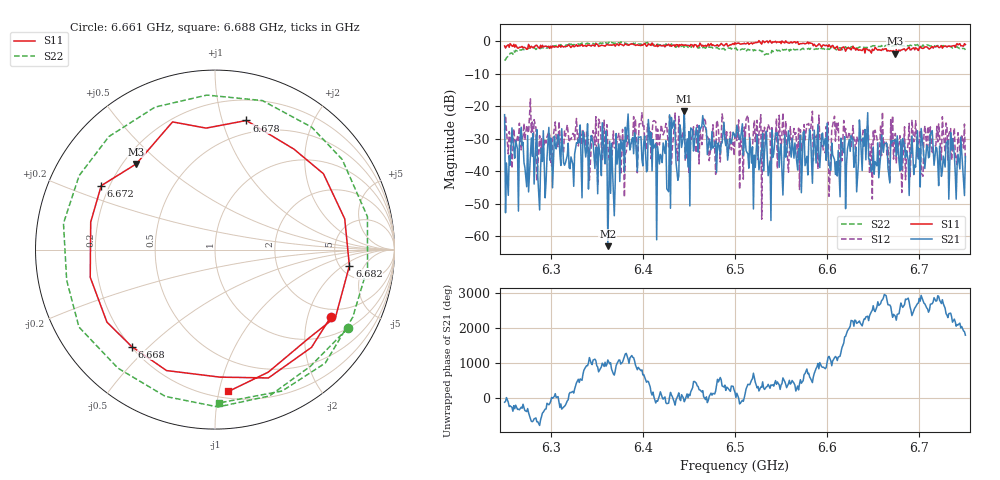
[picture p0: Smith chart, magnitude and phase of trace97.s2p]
# Hz S RI R 50
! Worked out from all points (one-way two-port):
!   401 points, 6.25 GHz to 6.75 GHz, reference 50 ohm
!   highest |S21| = -21.37 dB at 6.445 GHz (marker M1); lowest = -63.0 dB at 6.362 GHz (marker M2)
!   lowest |S11| = -3.8 dB at 6.674 GHz (marker M3), VSWR 4.69, Z = 12.6 + j20.8 ohm
!   |S11| at or under -10 dB: nowhere
!   |S22| runs from -5.9 to 0.0 dB; largest |S21 - S12| = 0.15
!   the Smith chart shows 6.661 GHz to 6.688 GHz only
!   S11 on the Smith chart (normalised r, x): 6.661 GHz: 1.66, -2.81; 6.668 GHz: 0.20, -0.44; 6.672 GHz: 0.17, +0.25; 6.678 GHz: 0.38, +1.20; 6.682 GHz: 6.04, -2.54; 6.688 GHz: 0.25, -1.07
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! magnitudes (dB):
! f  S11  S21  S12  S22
! 6.25 GHz  -1.4  -22.5  -27.4  -5.9
! 6.254 GHz  -1.0  -47.4  -34.6  -4.5
! 6.26 GHz  -0.9  -33.0  -26.9  -3.0
! 6.278 GHz  -2.0  -34.8  -17.7  -2.0
! 6.289 GHz  -1.2  -39.2  -34.8  -2.2
! 6.334 GHz  -0.9  -48.1  -31.9  -0.5
! 6.362 GHz  -1.0  -63.0  -32.1  -0.7
! 6.384 GHz  -1.1  -22.3  -28.8  -1.0
! 6.418 GHz  -1.2  -37.7  -31.8  -1.1
! 6.445 GHz  -1.2  -21.4  -23.6  -2.1
! 6.5 GHz  -0.4  -29.3  -28.2  -2.2
! 6.52 GHz  -0.5  -51.6  -27.5  -2.9
! 6.584 GHz  -0.6  -43.6  -21.5  -2.4
! 6.611 GHz  -1.5  -41.4  -27.3  -2.0
! 6.661 GHz  -2.5  -34.1  -32.2  -1.3
! 6.668 GHz  -2.9  -43.5  -43.3  -1.4
! 6.672 GHz  -2.8  -30.6  -36.2  -1.3
! 6.674 GHz  -3.8  -30.3  -28.3  -1.3
! 6.678 GHz  -2.6  -37.0  -31.2  -1.2
! 6.682 GHz  -2.4  -29.9  -38.4  -1.4
! 6.688 GHz  -2.0  -36.5  -30.9  -1.4
! 6.75 GHz  -0.9  -35.4  -37.0  -2.6
